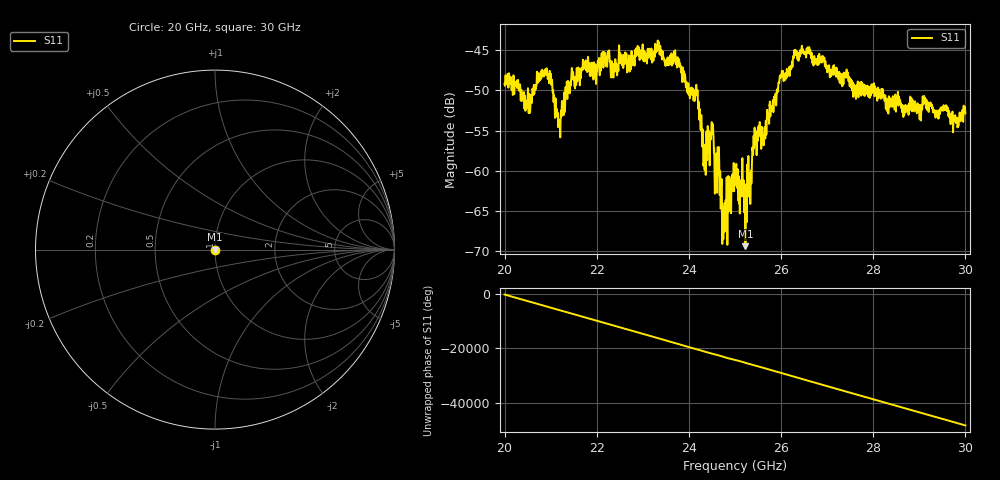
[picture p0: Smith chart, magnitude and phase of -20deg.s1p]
#  HZ  S  RI  R  50.00
! Rohde & Schwarz ZVA40 4Ports - Version 3.90 - 1145.1110k42 SN: 100403
! Date: 2023-10-03 11:26:51
! Measurement: S12
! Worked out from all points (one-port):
!   5001 points, 20 GHz to 30 GHz, reference 50 ohm
!   lowest |S11| = -69.4 dB at 25.23 GHz (marker M1), VSWR 1.00, Z = 50 - j0.0288 ohm
!   |S11| at or under -10 dB: start of sweep to end of sweep
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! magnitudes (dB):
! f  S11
! 20 GHz  -49.2
! 20.51 GHz  -50.9
! 20.88 GHz  -47.6
! 21 GHz  -48.1
! 21.16 GHz  -54.6
! 21.25 GHz  -52.3
! 21.42 GHz  -49.6
! 21.71 GHz  -47.3
! 22.5 GHz  -46.0
! 23.31 GHz  -45.0
! 23.75 GHz  -46.4
! 24.17 GHz  -50.1
! 24.33 GHz  -57.8
! 24.5 GHz  -55.4
! 24.59 GHz  -61.7
! 24.67 GHz  -62.9
! 24.76 GHz  -65.4
! 25 GHz  -61.0
! 25.23 GHz  -69.4
! 25.35 GHz  -60.0
! 25.42 GHz  -56.8
! 25.61 GHz  -56.3
! 25.99 GHz  -48.1
! 26.25 GHz  -46.6
! 26.6 GHz  -45.3
! 27.5 GHz  -48.6
! 28.75 GHz  -51.9
! 30 GHz  -52.9
